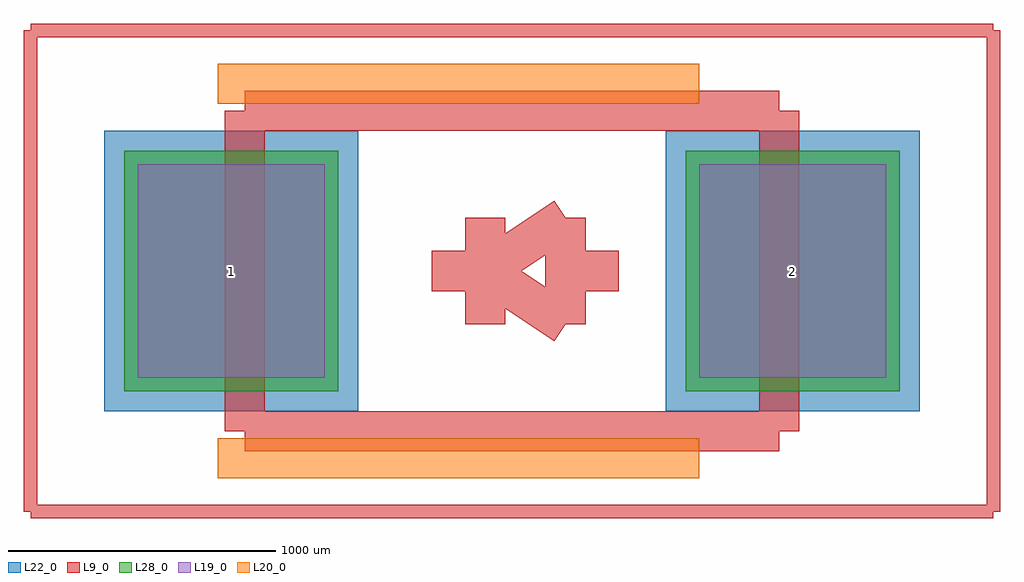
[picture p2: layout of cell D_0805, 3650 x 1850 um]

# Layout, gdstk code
import gdstk
lib = gdstk.Library(unit=1e-6, precision=1e-09)
def R(c, l, rs):  # rectangles x0, y0, x1, y1
    for r in rs: c.add(gdstk.rectangle(r[:2], r[2:], *l))
L9_0 = (9, 0)
L19_0 = (19, 0)
L20_0 = (20, 0)
L22_0 = (22, 0)
L28_0 = (28, 0)

d_0805 = lib.new_cell('D_0805')
R(d_0805, L19_0, [(-1400,-400,-700,400), (700,-400,1400,400)])
R(d_0805, L22_0, [(-1525,-525,-575,525), (575,-525,1525,525)])
R(d_0805, L28_0, [(-1450,-450,-650,450), (650,-450,1450,450)])
d_0805.add(gdstk.FlexPath([(-1100,700),(700,700)], 149.998, ends="flush", simple_path=True, layer=20, datatype=0))  # L20_0
d_0805.add(gdstk.FlexPath([(-1100,-700),(700,-700)], 149.998, ends="flush", simple_path=True, layer=20, datatype=0))  # L20_0
d_0805.add(gdstk.FlexPath([(-1000,600),(1000,600)], 149.998, ends="flush", simple_path=True, layer=9, datatype=0))  # L9_0
d_0805.add(gdstk.FlexPath([(1000,600),(1000,-600)], 149.998, ends="flush", simple_path=True, layer=9, datatype=0))  # L9_0
d_0805.add(gdstk.FlexPath([(1000,-600),(-1000,-600)], 149.998, ends="flush", simple_path=True, layer=9, datatype=0))  # L9_0
d_0805.add(gdstk.FlexPath([(-1000,-600),(-1000,600)], 149.998, ends="flush", simple_path=True, layer=9, datatype=0))  # L9_0
d_0805.add(gdstk.FlexPath([(200,200),(-100,0)], 149.998, ends="flush", simple_path=True, layer=9, datatype=0))  # L9_0
d_0805.add(gdstk.FlexPath([(-100,0),(200,-200)], 149.998, ends="flush", simple_path=True, layer=9, datatype=0))  # L9_0
d_0805.add(gdstk.FlexPath([(200,-200),(200,200)], 149.998, ends="flush", simple_path=True, layer=9, datatype=0))  # L9_0
d_0805.add(gdstk.FlexPath([(-100,200),(-100,-200)], 149.998, ends="flush", simple_path=True, layer=9, datatype=0))  # L9_0
d_0805.add(gdstk.FlexPath([(-100,0),(-300,0)], 149.998, ends="flush", simple_path=True, layer=9, datatype=0))  # L9_0
d_0805.add(gdstk.FlexPath([(200,0),(400,0)], 149.998, ends="flush", simple_path=True, layer=9, datatype=0))  # L9_0
d_0805.add(gdstk.FlexPath([(-1800,900),(1800,900)], 50, ends="flush", simple_path=True, layer=9, datatype=0))  # L9_0
d_0805.add(gdstk.FlexPath([(1800,900),(1800,-900)], 50, ends="flush", simple_path=True, layer=9, datatype=0))  # L9_0
d_0805.add(gdstk.FlexPath([(1800,-900),(-1800,-900)], 50, ends="flush", simple_path=True, layer=9, datatype=0))  # L9_0
d_0805.add(gdstk.FlexPath([(-1800,-900),(-1800,900)], 50, ends="flush", simple_path=True, layer=9, datatype=0))  # L9_0
d_0805.add(gdstk.Label('2', (1050,0), layer=28, texttype=0))
d_0805.add(gdstk.Label('1', (-1050,0), layer=28, texttype=0))
d_0805.add(gdstk.Label('type', (0,1600), layer=9, texttype=0))
d_0805.add(gdstk.Label('devicename', (0,-1600), layer=9, texttype=0))

lib.write_gds('D_0805.gds')
